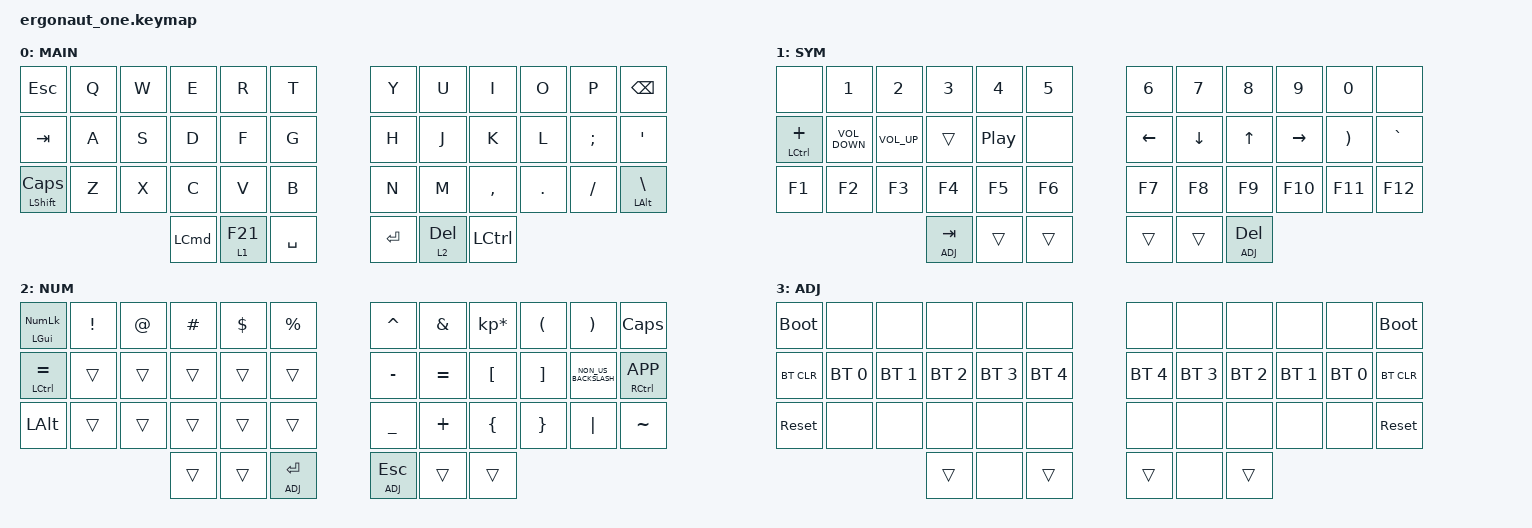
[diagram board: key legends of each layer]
#include <behaviors.dtsi>
#include <dt-bindings/zmk/bt.h>
#include <dt-bindings/zmk/keys.h>

#define DEF 0
#define LWR 1
#define RSE 2
#define ADJ 3

&lt { quick-tap-ms = <200>; };

&mt { quick-tap-ms = <200>; };

/ {
    conditional_layers {
        compatible = "zmk,conditional-layers";

        tri-layer {
            if-layers = <LWR RSE>;
            then-layer = <ADJ>;
        };
    };

    keymap {
        compatible = "zmk,keymap";

        default_layer {
            display-name = "MAIN";
            bindings = <
&kp ESC                  &kp Q  &kp W  &kp E             &kp R      &kp T      &kp Y      &kp U      &kp I             &kp O    &kp P     &kp BACKSPACE
&kp TAB                  &kp A  &kp S  &kp D             &kp F      &kp G      &kp H      &kp J      &kp K             &kp L    &kp SEMI  &kp SQT
&mt LEFT_SHIFT CAPSLOCK  &kp Z  &kp X  &kp C             &kp V      &kp B      &kp N      &kp M      &kp COMMA         &kp DOT  &kp FSLH  &mt LEFT_ALT BSLH
                                       &kp LEFT_COMMAND  &lt 1 F21  &kp SPACE  &kp ENTER  &lt 2 DEL  &kp LEFT_CONTROL
            >;
        };

        lower_layer {
            display-name = "SYM";
            bindings = <
&none           &kp NUMBER_1       &kp NUMBER_2     &kp NUMBER_3  &kp NUMBER_4      &kp NUMBER_5  &kp NUMBER_6    &kp NUMBER_7    &kp NUMBER_8  &kp NUMBER_9     &kp NUMBER_0  &none
&mt LCTRL PLUS  &kp C_VOLUME_DOWN  &kp C_VOLUME_UP  &trans        &kp C_PLAY_PAUSE  &none         &kp LEFT_ARROW  &kp DOWN_ARROW  &kp UP_ARROW  &kp RIGHT_ARROW  &kp RPAR      &kp GRAVE
&kp F1          &kp F2             &kp F3           &kp F4        &kp F5            &kp F6        &kp F7          &kp F8          &kp F9        &kp F10          &kp F11       &kp F12
                                                    &lt ADJ TAB   &trans            &trans        &trans          &trans          &lt ADJ DEL
            >;
        };

        raise_layer {
            display-name = "NUM";
            bindings = <
&mt LGUI KP_NUM  &kp EXCLAMATION  &kp AT_SIGN  &kp HASH  &kp DOLLAR  &kp PERCENT  &kp CARET       &kp AMPERSAND  &kp KP_MULTIPLY   &kp LEFT_PARENTHESIS  &kp RIGHT_PARENTHESIS  &kp CLCK
&mt LCTRL EQUAL  &trans           &trans       &trans    &trans      &trans       &kp MINUS       &kp EQUAL      &kp LEFT_BRACKET  &kp RIGHT_BRACKET     &kp NON_US_BACKSLASH   &mt RCTRL K_APP
&kp LALT         &trans           &trans       &trans    &trans      &trans       &kp UNDERSCORE  &kp PLUS       &kp LEFT_BRACE    &kp RIGHT_BRACE       &kp PIPE               &kp TILDE
                                               &trans    &trans      &lt ADJ RET  &lt ADJ ESC     &trans         &trans
            >;
        };

        adjust_layer {
            display-name = "ADJ";
            bindings = <
&bootloader  &none         &none         &none         &none         &none         &none         &none         &none         &none         &none         &bootloader
&bt BT_CLR   &bt BT_SEL 0  &bt BT_SEL 1  &bt BT_SEL 2  &bt BT_SEL 3  &bt BT_SEL 4  &bt BT_SEL 4  &bt BT_SEL 3  &bt BT_SEL 2  &bt BT_SEL 1  &bt BT_SEL 0  &bt BT_CLR
&sys_reset   &none         &none         &none         &none         &none         &none         &none         &none         &none         &none         &sys_reset
                                         &trans        &none         &trans        &trans        &none         &trans
            >;
        };
    };
};
